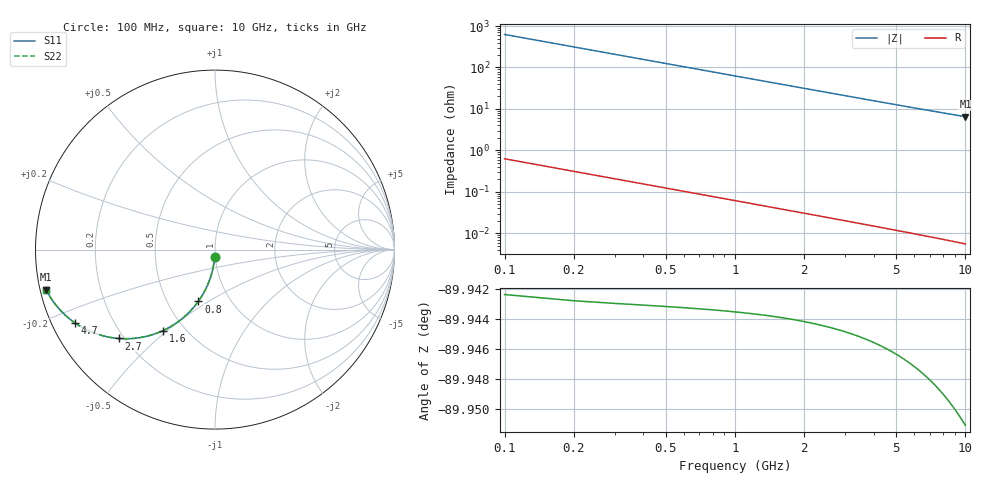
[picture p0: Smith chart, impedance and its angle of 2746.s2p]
# Hz S RI R 50.00
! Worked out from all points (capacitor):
!   100 points, 100 MHz to 10 GHz, reference 50 ohm
!   read as one part in shunt: C = 2.54 pF near 100 MHz
!   lowest |Z| = 6.52 ohm at 10 GHz (marker M1)
!   S11 on the Smith chart (normalised r, x): 100 MHz: 0.99, -0.08; 800 MHz: 0.71, -0.45; 1.6 GHz: 0.38, -0.48; 2.7 GHz: 0.18, -0.38; 4.7 GHz: 0.07, -0.25; 10 GHz: 0.02, -0.12
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1e8  -0.0016 -0.0398  0.9983 -0.04  0.9983 -0.04  -0.0016 -0.0398
2e8  -0.00639 -0.0792  0.9935 -0.0796  0.9935 -0.0796  -0.00639 -0.0792
3e8  -0.0142 -0.1178  0.9857 -0.1185  0.9857 -0.1185  -0.0142 -0.1178
4e8  -0.025 -0.1554  0.9749 -0.1562  0.9749 -0.1562  -0.025 -0.1554
5e8  -0.0385 -0.1915  0.9614 -0.1926  0.9614 -0.1926  -0.0385 -0.1915
6e8  -0.0545 -0.2259  0.9454 -0.2273  0.9454 -0.2273  -0.0545 -0.2259
8e8  -0.0929 -0.2889  0.9071 -0.2907  0.9071 -0.2907  -0.0929 -0.2889
1e9  -0.1378 -0.3431  0.8621 -0.3454  0.8621 -0.3454  -0.1378 -0.3431
1.2e9  -0.187 -0.3881  0.8129 -0.3908  0.8129 -0.3908  -0.187 -0.3881
1.4e9  -0.2384 -0.4241  0.7616 -0.4272  0.7616 -0.4272  -0.2384 -0.4241
1.6e9  -0.2901 -0.4515  0.7099 -0.4551  0.7099 -0.4551  -0.2901 -0.4515
1.8e9  -0.3408 -0.4715  0.6592 -0.4755  0.6592 -0.4755  -0.3408 -0.4715
2.2e9  -0.4355 -0.4929  0.5644 -0.4978  0.5644 -0.4978  -0.4355 -0.4929
2.7e9  -0.5373 -0.4951  0.4626 -0.5011  0.4626 -0.5011  -0.5373 -0.4951
3.4e9  -0.6479 -0.4733  0.352 -0.4809  0.352 -0.4809  -0.6479 -0.4733
4e9  -0.7179 -0.445  0.282 -0.454  0.282 -0.454  -0.7179 -0.445
4.7e9  -0.7784 -0.4095  0.2215 -0.4201  0.2215 -0.4201  -0.7784 -0.4095
5.1e9  -0.8053 -0.3897  0.1946 -0.4012  0.1946 -0.4012  -0.8053 -0.3897
5.8e9  -0.8425 -0.3571  0.1573 -0.3702  0.1573 -0.3702  -0.8425 -0.3571
6.7e9  -0.8772 -0.32  0.1226 -0.3352  0.1226 -0.3352  -0.8772 -0.32
8.4e9  -0.9184 -0.2634  0.0813 -0.2827  0.0813 -0.2827  -0.9184 -0.2634
1e10  -0.9412 -0.2228  0.0584 -0.246  0.0584 -0.246  -0.9412 -0.2228
